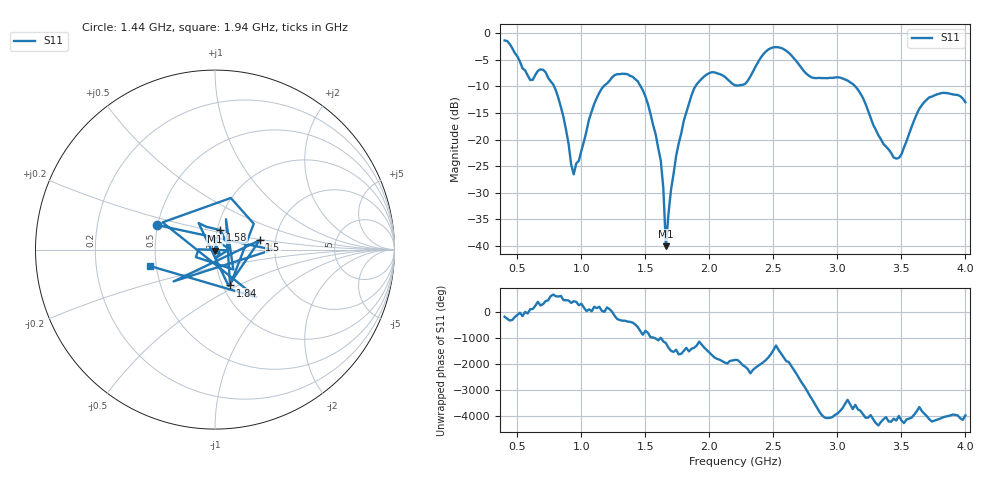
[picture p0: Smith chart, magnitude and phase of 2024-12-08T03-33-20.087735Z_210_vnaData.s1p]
!Created with skrf (http://scikit-rf.org).
# Hz S RI R 50.0
!freq ReS11 ImS11
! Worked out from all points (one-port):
!   181 points, 400 MHz to 4 GHz, reference 50 ohm
!   lowest |S11| = -40.0 dB at 1.66 GHz (marker M1), VSWR 1.02, Z = 49.7 - j0.953 ohm
!   |S11| at or under -10 dB: 786.5 MHz to 1.174 GHz (387.6 MHz wide, 39.5 % of centre); 1.463 GHz to 1.891 GHz (428 MHz wide, 25.5 % of centre); 3.14 GHz to end of sweep
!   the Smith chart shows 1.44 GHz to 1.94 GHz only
!   S11 on the Smith chart (normalised r, x): 1.44 GHz: 0.49, +0.15; 1.5 GHz: 1.65, +0.18; 1.58 GHz: 1.04, +0.23; 1.84 GHz: 1.08, -0.45; 1.94 GHz: 0.46, -0.10
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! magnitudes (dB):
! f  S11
! 400 MHz  -1.4
! 600 MHz  -8.8
! 720 MHz  -7.3
! 860 MHz  -15.8
! 940 MHz  -26.5
! 1.12 GHz  -12.2
! 1.3 GHz  -7.7
! 1.44 GHz  -9.0
! 1.5 GHz  -11.9
! 1.58 GHz  -19.0
! 1.62 GHz  -24.0
! 1.64 GHz  -29.1
! 1.66 GHz  -40.0
! 1.7 GHz  -29.5
! 1.76 GHz  -20.8
! 1.84 GHz  -13.3
! 1.94 GHz  -8.6
! 2.04 GHz  -7.4
! 2.2 GHz  -9.8
! 2.28 GHz  -9.5
! 2.48 GHz  -2.8
! 2.66 GHz  -4.7
! 2.8 GHz  -8.3
! 3.1 GHz  -9.2
! 3.44 GHz  -23.4
! 3.56 GHz  -18.9
! 3.72 GHz  -12.0
! 4 GHz  -13.0
